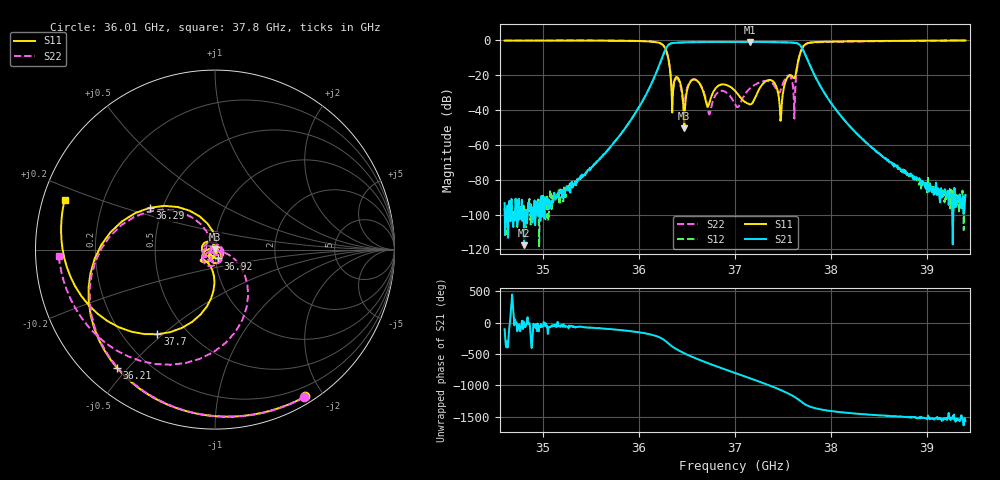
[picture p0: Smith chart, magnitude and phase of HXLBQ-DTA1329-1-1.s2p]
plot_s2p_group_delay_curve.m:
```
%%%%%%%%%%%%%%%%%%%%%%%%%%%%%%%%%%%%%%%%%%%%%%%%%%%%%%%%%%%%%%%%%%%%%%%%%%
% 单独绘制 S2P 群时延曲线
% 用途：仅读取 data/HXLBQ-DTA1329-1-1.s2p 并显示 S21 群时延原始数据
%%%%%%%%%%%%%%%%%%%%%%%%%%%%%%%%%%%%%%%%%%%%%%%%%%%%%%%%%%%%%%%%%%%%%%%%%%
clc; clear; close all;

%% 1. 参数设置
script_dir = fileparts(mfilename('fullpath'));
s2p_file = fullfile(script_dir, 'data', 'HXLBQ-DTA1329-1-1.s2p');
x_plot_lo = 36.5e9;
x_plot_hi = 37.5e9;

fprintf('【步骤1】读取 S2P 文件并计算群时延...\n');
[f_hz, tau_s] = read_s21_group_delay_from_s2p(s2p_file);

if isempty(f_hz) || isempty(tau_s)
    error('S2P 数据为空或读取失败：%s', s2p_file);
end

%% 2. 仅绘制 S2P 原始数据
fprintf('【步骤2】绘制 S2P 原始群时延曲线...\n');
figure(1); clf;
set(gcf, 'Color', 'w', 'Position', [100, 100, 980, 560]);

plot(f_hz / 1e9, tau_s * 1e9, '-', ...
    'Color', [0.12, 0.36, 0.78], 'LineWidth', 1.4);

grid on;
xlabel('频率 (GHz)', 'FontName', 'SimHei', 'FontSize', 12, 'FontWeight', 'bold');
ylabel('群时延 \tau_g (ns)', 'FontName', 'SimHei', 'FontSize', 12, 'FontWeight', 'bold');
title('HXLBQ-DTA1329-1-1 S21 群时延（S2P数据）', 'FontName', 'SimHei', 'FontSize', 14);
legend({'S2P 群时延数据'}, 'Location', 'best', 'FontName', 'SimHei');
set(gca, 'FontName', 'SimHei', 'FontSize', 11, 'GridAlpha', 0.25);
xlim([x_plot_lo, x_plot_hi] / 1e9);

%% 3. 结果输出（36-38 GHz 视窗）
mask_view = f_hz >= x_plot_lo & f_hz <= x_plot_hi;
if ~any(mask_view)
    error('36-38 GHz 范围内没有可用数据点。');
end

f_view = f_hz(mask_view);
tau_view_ns = tau_s(mask_view) * 1e9;
[tau_peak_ns, idx_peak] = max(tau_view_ns);
tau_min_ns = min(tau_view_ns);
tau_mid_ns = median(tau_view_ns);

fprintf('\n===== 群时延统计（36.00-38.00 GHz）=====\n');
fprintf('点数          : %d\n', numel(f_view));
fprintf('最小群时延    : %.4f ns\n', tau_min_ns);
fprintf('中位群时延    : %.4f ns\n', tau_mid_ns);
fprintf('峰值群时延    : %.4f ns @ %.4f GHz\n', tau_peak_ns, f_view(idx_peak) / 1e9);
fprintf('===========================================\n');

%% 4. 导出论文插图
export_thesis_figure(gcf, 's2p_group_delay_curve', 14, 300);

function [f_hz, tau_s] = read_s21_group_delay_from_s2p(s2p_file)
fid = fopen(s2p_file, 'r');
if fid < 0
    f_hz = [];
    tau_s = [];
    return;
end

cleaner = onCleanup(@() fclose(fid));

unit_scale = 1;
data_fmt = 'DB';
buf = [];
f_hz = [];
s21_a = [];
s21_b = [];

while ~feof(fid)
    line = strtrim(fgetl(fid));
    if ~ischar(line) || isempty(line)
        continue;
    end

    if startsWith(line, '!')
        continue;
    end

    if startsWith(line, '#')
        line_upper = upper([' ' line ' ']);
        if contains(line_upper, ' GHZ ')
            unit_scale = 1e9;
        elseif contains(line_upper, ' MHZ ')
            unit_scale = 1e6;
        elseif contains(line_upper, ' KHZ ')
            unit_scale = 1e3;
        else
            unit_scale = 1;
        end

        if contains(line_upper, ' RI ')
            data_fmt = 'RI';
        elseif contains(line_upper, ' MA ')
            data_fmt = 'MA';
        else
            data_fmt = 'DB';
        end
        continue;
    end

    nums = sscanf(line, '%f').';
    if isempty(nums)
        continue;
    end

    buf = [buf, nums]; %#ok<AGROW>
    while numel(buf) >= 9
        row = buf(1:9);
        buf = buf(10:end);
        f_hz(end+1, 1) = row(1) * unit_scale; %#ok<AGROW>
        s21_a(end+1, 1) = row(4); %#ok<AGROW>
        s21_b(end+1, 1) = row(5); %#ok<AGROW>
    end
end

if isempty(f_hz)
    tau_s = [];
    return;
end

switch upper(data_fmt)
    case 'RI'
        s21 = s21_a + 1i * s21_b;
    case 'MA'
        s21 = s21_a .* exp(1i * deg2rad(s21_b));
    otherwise
        s21 = 10 .^ (s21_a / 20) .* exp(1i * deg2rad(s21_b));
end

phase_rad = unwrap(angle(s21));
tau_s = -gradient(phase_rad, f_hz) / (2 * pi);

mask_ok = isfinite(f_hz) & isfinite(tau_s);
f_hz = f_hz(mask_ok);
tau_s = tau_s(mask_ok);
end

%%%%%%%%%%%%%%%%%%%%%%%%%%%%%%%%%%%%%%%%%%%%%%%%%%%%%%%%%%%%%%%%%%%%%%%%%%%
% 本地函数：统一论文插图风格并自动导出
%%%%%%%%%%%%%%%%%%%%%%%%%%%%%%%%%%%%%%%%%%%%%%%%%%%%%%%%%%%%%%%%%%%%%%%%%%%
function export_thesis_figure(fig_handle, out_name, width_cm, dpi)
if nargin < 1 || isempty(fig_handle), fig_handle = gcf; end
if nargin < 2 || isempty(out_name), out_name = 'figure_export'; end
if nargin < 3 || isempty(width_cm), width_cm = 14; end
if nargin < 4 || isempty(dpi), dpi = 300; end

height_cm = width_cm * 0.618;
out_dir = fullfile(fileparts(mfilename('fullpath')), '..', 'figures_export');
if ~exist(out_dir, 'dir')
    mkdir(out_dir);
end

set(fig_handle, ...
    'Color', 'w', ...
    'Units', 'centimeters', ...
    'Position', [2, 2, width_cm, height_cm], ...
    'PaperUnits', 'centimeters', ...
    'PaperPosition', [0, 0, width_cm, height_cm], ...
    'PaperSize', [width_cm, height_cm]);

ax_all = findall(fig_handle, 'Type', 'axes');
for i_ax = 1:numel(ax_all)
    set(ax_all(i_ax), ...
        'FontName', 'SimHei', ...
        'FontSize', 10, ...
        'LineWidth', 1.0, ...
        'Box', 'on', ...
        'XGrid', 'on', ...
        'YGrid', 'on', ...
        'GridAlpha', 0.20, ...
        'TickDir', 'out');
end

line_all = findall(fig_handle, 'Type', 'line');
for i_ln = 1:numel(line_all)
    if strcmp(get(line_all(i_ln), 'LineStyle'), 'none')
        set(line_all(i_ln), 'LineWidth', 1.0);
    else
        set(line_all(i_ln), 'LineWidth', 1.5);
    end
end

file_tiff = fullfile(out_dir, [out_name, '.tiff']);
exportgraphics(fig_handle, file_tiff, 'Resolution', dpi);
fprintf('【导出】%s\n', file_tiff);
end
```
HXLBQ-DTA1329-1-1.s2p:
!Keysight Technologies,N5227B,US60211109,A.19.55.13
!Date: Tuesday, March 03, 2026 18:18:06
!Correction: S11(Cdelta 2-Port  )
!S21(Cdelta 2-Port  )
!S12(Cdelta 2-Port  )
!S22(Cdelta 2-Port  )
!S2P File: Measurements: S11, S21, S12, S22:
# Hz S  dB  R 50
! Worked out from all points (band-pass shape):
!   801 points, 34.6 GHz to 39.4 GHz, reference 50 ohm
!   highest |S21| = -0.83 dB at 37.16 GHz (marker M1); lowest = -117.6 dB at 34.8 GHz (marker M2)
!   |S21| within 3 dB of the highest: 36.29 GHz to 37.69 GHz (1.403 GHz wide, 3.79 % of centre)
!   lowest |S11| = -50.5 dB at 36.47 GHz (marker M3), VSWR 1.01, Z = 50.2 + j0.238 ohm
!   |S11| at or under -10 dB: 36.3 GHz to 37.67 GHz (1.362 GHz wide, 3.68 % of centre)
!   |S22| runs from -44.9 to 0.0 dB; largest |S21 - S12| = 0.00091
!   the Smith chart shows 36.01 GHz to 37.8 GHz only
!   S11 on the Smith chart (normalised r, x): 36.01 GHz: 0.08, -1.79; 36.21 GHz: 0.09, -0.47; 36.29 GHz: 0.42, +0.24; 36.92 GHz: 1.03, -0.10; 37.7 GHz: 0.34, -0.48; 37.8 GHz: 0.06, +0.16
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3.46e10  -0.09 76.6  -93.45 -105.1  -96.25 18.0  -0.08 79.7
3.4804e10  -0.07 64.3  -117.64 -60.0  -100.18 79.0  -0.06 67.1
3.601e10  -0.35 -58.4  -37.40 -155.6  -37.40 -155.6  -0.34 -58.9
3.6208e10  -1.35 -129.7  -14.63 130.1  -14.64 130.1  -1.39 -130.0
3.6292e10  -7.28 147.4  -3.58 46.6  -3.58 46.6  -7.28 151.0
3.6472e10  -50.46 52.2  -1.08 -128.7  -1.09 -128.7  -37.43 31.9
3.6916e10  -25.70 -70.8  -0.84 -37.6  -0.84 -37.7  -30.15 -82.3
3.7e10  -28.91 -128.3  -0.84 -83.2  -0.84 -83.2  -36.54 -154.1
3.7156e10  -36.74 31.4  -0.83 -167.8  -0.83 -167.8  -27.48 6.7
3.7696e10  -4.87 -124.3  -4.14 170.3  -4.15 170.3  -4.88 -90.7
3.7804e10  -1.09 161.6  -17.15 87.1  -17.16 87.1  -1.19 -177.8
3.94e10  -0.01 -23.2  -88.67 -131.5  -88.71 -159.8  -0.05 -23.2
